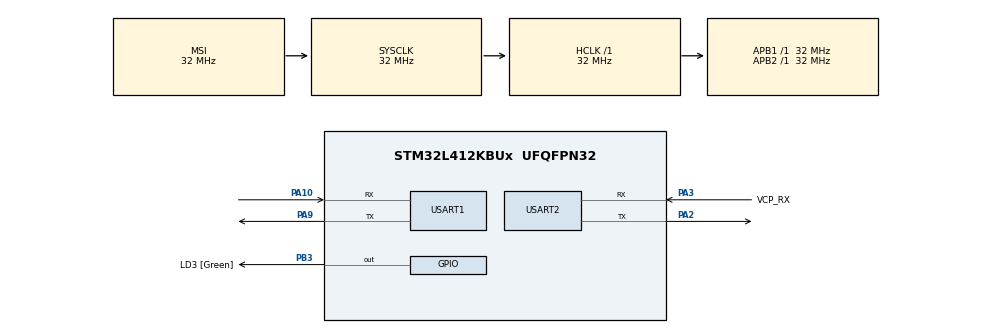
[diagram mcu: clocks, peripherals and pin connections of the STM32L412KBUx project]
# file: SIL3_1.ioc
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Mcu.Family=STM32L4
Mcu.Name=STM32L412KBUx
Mcu.Package=UFQFPN32
NVIC.PriorityGroup=NVIC_PRIORITYGROUP_4
NVIC.USART1_IRQn=true\:0\:0\:false\:false\:true\:true\:true\:true
PA0-CK_IN.Mode=HSE-External-Clock-Source-for-LittleOrca
PA0-CK_IN.Signal=RCC_CK_IN
PA10.Mode=Asynchronous
PA10.Signal=USART1_RX
PA13\ (JTMS/SWDIO).GPIO_Label=SWDIO
PA13\ (JTMS/SWDIO).Mode=Serial_Wire
PA13\ (JTMS/SWDIO).Signal=SYS_JTMS-SWDIO
PA14\ (JTCK/SWCLK).GPIO_Label=SWCLK
PA14\ (JTCK/SWCLK).Mode=Serial_Wire
PA14\ (JTCK/SWCLK).Signal=SYS_JTCK-SWCLK
PA2.Mode=Asynchronous
PA2.Signal=USART2_TX
PA3.GPIO_Label=VCP_RX
PA3.Mode=Asynchronous
PA3.Signal=USART2_RX
PA9.Mode=Asynchronous
PA9.Signal=USART1_TX
PB3\ (JTDO/TRACESWO).GPIO_Label=LD3 [Green]
PB3\ (JTDO/TRACESWO).Signal=GPIO_Output
PC14-OSC32_IN\ (PC14).Mode=LSE-External-Oscillator
PC14-OSC32_IN\ (PC14).Signal=RCC_OSC32_IN
PC15-OSC32_OUT\ (PC15).Mode=LSE-External-Oscillator
PC15-OSC32_OUT\ (PC15).Signal=RCC_OSC32_OUT
ProjectManager.HeapSize=0x200
ProjectManager.StackSize=0x400
ProjectManager.TargetToolchain=CMake
RCC.ADCFreq_Value=32000000
RCC.AHBFreq_Value=32000000
RCC.APB1Freq_Value=32000000
RCC.APB1TimFreq_Value=32000000
RCC.APB2Freq_Value=32000000
RCC.APB2TimFreq_Value=32000000
RCC.CortexFreq_Value=32000000
RCC.FLatency=FLASH_LATENCY_1
RCC.HCLKFreq_Value=32000000
RCC.HSE_VALUE=8000000
RCC.HSI48_VALUE=48000000
RCC.HSICalibrationValue=64
RCC.HSI_VALUE=16000000
RCC.LSE_Drive_Capability=RCC_LSEDRIVE_LOW
RCC.MSIClockRange=RCC_MSIRANGE_10
RCC.MSI_VALUE=32000000
RCC.SYSCLKFreq_VALUE=32000000
RCC.USBFreq_Value=32000000
RCC.VCOOutputFreq_Value=256000000
USART1.VirtualMode-Asynchronous=VM_ASYNC
USART2.VirtualMode-Asynchronous=VM_ASYNC
board=NUCLEO-L412KB

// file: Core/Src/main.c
/* USER CODE BEGIN Header */
/* USER CODE END Header */
#include "main.h"
#include "usart.h"
#include "gpio.h"

/* USER CODE BEGIN Includes */
#include "uart_manager.h"
#include "safety_logic.h" // Ta biblioteka zarządza całą logiką aplikacji
#include "master_comm.h"  // Ta obsłuży USART1 do Mastera
#include "io_manager.h"   // Ta obsłuży diody
/* USER CODE END Includes */

/* USER CODE BEGIN PV */
UART_Manager_t myUart; // Menedżer dla USART2 (PC)
SL_Context_t safetyCtx; // Kontekst maszyny stanów
/* USER CODE END PV */

void SystemClock_Config(void);
/* USER CODE BEGIN PFP */
void HAL_UART_RxCpltCallback(UART_HandleTypeDef *huart) {
    // KOMUNIKACJA Z PC (USART2)
    if (huart->Instance == USART2) {
        UARTM_IRQHandler(&myUart);
        if (myUart.ready) {
            // Parser i logika bezpieczeństwa analizują komendę LX / START / STOP
            SL_HandlePCCommand(&safetyCtx);
        }
    }

    // KOMUNIKACJA Z MASTEREM (USART1)
    if (huart->Instance == USART1) {
        // Ta funkcja z master_comm odbiera bajt autoryzacji (GRANT/DENY)
        MC_IRQHandler(huart);
        // Logika bezpieczeństwa od razu sprawdza werdykt
        uint8_t response;
        if (MC_CheckResponse(&response)) {
            SL_HandleMasterResponse(&safetyCtx, response);
        }
    }
}
/* USER CODE END PFP */

int main(void)
{

  /* MCU Configuration--------------------------------------------------------*/

  /* Reset of all peripherals, Initializes the Flash interface and the Systick. */
  HAL_Init();

  /* Configure the system clock */
  SystemClock_Config();

  /* Initialize all configured peripherals */
  MX_GPIO_Init();
  MX_USART2_UART_Init();
  MX_USART1_UART_Init();
  /* USER CODE BEGIN 2 */
  // 1. Inicjalizuj transport dla PC na USART2
    UARTM_Init(&myUart, &huart2, UART_BACKEND_USART, UART_MODE_LINE, true);

    // 2. Inicjalizuj logikę bezpieczeństwa (to odpali też IO_Manager)
    SL_Init(&safetyCtx, &myUart);

    // 3. Opcjonalnie: Test diod przy starcie (standard w SIL)
    IO_RunSelfTest();
  /* USER CODE END 2 */

  /* Infinite loop */
  /* USER CODE BEGIN WHILE */
        // Sprawdzanie timeoutów (czy Master nie przestał odpowiadać)
        SL_Update(&safetyCtx);
    /* USER CODE END WHILE */

}

void SystemClock_Config(void)
{
  RCC_OscInitTypeDef RCC_OscInitStruct = {0};
  RCC_ClkInitTypeDef RCC_ClkInitStruct = {0};

  /** Configure the main internal regulator output voltage
  */
  if (HAL_PWREx_ControlVoltageScaling(PWR_REGULATOR_VOLTAGE_SCALE1) != HAL_OK)
  {
    Error_Handler();
  }

  /** Configure LSE Drive Capability
  */
  HAL_PWR_EnableBkUpAccess();
  __HAL_RCC_LSEDRIVE_CONFIG(RCC_LSEDRIVE_LOW);

  /** Initializes the RCC Oscillators according to the specified parameters
  * in the RCC_OscInitTypeDef structure.
  */
  RCC_OscInitStruct.OscillatorType = RCC_OSCILLATORTYPE_LSE|RCC_OSCILLATORTYPE_MSI;
  RCC_OscInitStruct.LSEState = RCC_LSE_ON;
  RCC_OscInitStruct.MSIState = RCC_MSI_ON;
  RCC_OscInitStruct.MSICalibrationValue = 0;
  RCC_OscInitStruct.MSIClockRange = RCC_MSIRANGE_10;
  RCC_OscInitStruct.PLL.PLLState = RCC_PLL_NONE;
  if (HAL_RCC_OscConfig(&RCC_OscInitStruct) != HAL_OK)
  {
    Error_Handler();
  }

  /** Initializes the CPU, AHB and APB buses clocks
  */
  RCC_ClkInitStruct.ClockType = RCC_CLOCKTYPE_HCLK|RCC_CLOCKTYPE_SYSCLK
                              |RCC_CLOCKTYPE_PCLK1|RCC_CLOCKTYPE_PCLK2;
  RCC_ClkInitStruct.SYSCLKSource = RCC_SYSCLKSOURCE_MSI;
  RCC_ClkInitStruct.AHBCLKDivider = RCC_SYSCLK_DIV1;
  RCC_ClkInitStruct.APB1CLKDivider = RCC_HCLK_DIV1;
  RCC_ClkInitStruct.APB2CLKDivider = RCC_HCLK_DIV1;

  if (HAL_RCC_ClockConfig(&RCC_ClkInitStruct, FLASH_LATENCY_1) != HAL_OK)
  {
    Error_Handler();
  }

  /** Enable MSI Auto calibration
  */
  HAL_RCCEx_EnableMSIPLLMode();
}

void Error_Handler(void)
{
}
